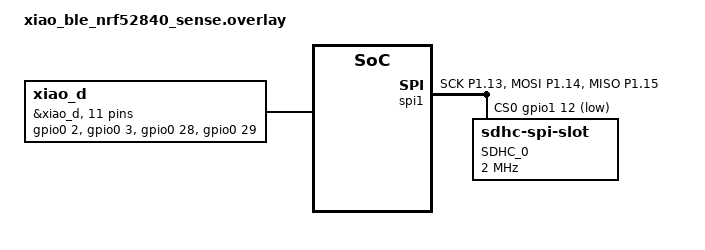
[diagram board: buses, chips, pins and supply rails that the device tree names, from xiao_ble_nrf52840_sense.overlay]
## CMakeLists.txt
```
#
# Copyright (c) 2018 Nordic Semiconductor
#
# SPDX-License-Identifier: LicenseRef-Nordic-5-Clause
#
cmake_minimum_required(VERSION 3.20.0)

find_package(Zephyr REQUIRED HINTS $ENV{ZEPHYR_BASE})
project(esb_ptxMy)

FILE(GLOB app_sources src/*.c)
# NORDIC SDK APP START
target_sources(app PRIVATE ${app_sources})
# NORDIC SDK APP END
```

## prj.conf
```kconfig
#
# Copyright (c) 2019 Nordic Semiconductor ASA
#
# SPDX-License-Identifier: LicenseRef-Nordic-5-Clause
#
CONFIG_NCS_SAMPLES_DEFAULTS=y
CONFIG_ESB=y
CONFIG_DK_LIBRARY=y
CONFIG_CLOCK_CONTROL=y

CONFIG_DISK_ACCESS=y
CONFIG_LOG=y

CONFIG_ASSERT=y

CONFIG_FILE_SYSTEM=y
CONFIG_FAT_FILESYSTEM_ELM=y
CONFIG_PRINTK=y
CONFIG_MAIN_STACK_SIZE=4096
CONFIG_SPI=y
CONFIG_ESB_MAX_PAYLOAD_LENGTH=193

CONFIG_ENTROPY_GENERATOR=y
```

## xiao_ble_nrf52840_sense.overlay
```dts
// To get started, press Ctrl+Space to bring up the completion menu and view the available nodes.

// You can also use the buttons in the sidebar to perform actions on nodes.
// Actions currently available include:

// * Enabling / disabling the node
// * Adding the bus to a bus
// * Removing the node
// * Connecting ADC channels

// For more help, browse the DeviceTree documentation at https://docs.zephyrproject.org/latest/guides/dts/index.html
// You can also visit the nRF DeviceTree extension documentation at https://docs.nordicsemi.com/bundle/nrf-connect-vscode/page/guides/ncs_configure_app.html#devicetree-support-in-the-extension
&pinctrl {
    custom_spi: custom_spi {
            group1 {
                    psels = <NRF_PSEL(SPIM_SCK, 1, 13)>,
                            <NRF_PSEL(SPIM_MOSI, 1, 14)>,
                            <NRF_PSEL(SPIM_MISO, 1, 15)>;
            };
    };
};

&spi1 {
    status = "okay";
    pinctrl-0 = <&custom_spi>;
    pinctrl-1 = <&custom_spi>;
    pinctrl-names = "default", "sleep";
    cs-gpios = <&gpio1 12 GPIO_ACTIVE_LOW>;

    sdhc0: sdhc@0 {
        compatible = "zephyr,sdhc-spi-slot";
        reg = <0>;
        status = "okay";
        label = "SDHC_0";
        mmc {
                compatible = "zephyr,sdmmc-disk";
                status = "okay";
                disk-name = "SD";  // ← sem přidej tento řádek
        };
        spi-max-frequency = <2000000>;
        //spi-max-frequency = <24000000>; //was working changing to 12 Mhz to be more stable
    };
};

&uart0_sleep {
    group1 {
        psels = <NRF_PSEL(UART_TX, 1, 11)>;
    };
};

&spi2_default {
    group1 {
        psels = <NRF_PSEL(SPIM_SCK, 1, 13)>,
                <NRF_PSEL(SPIM_MOSI, 1, 14)>,
                <NRF_PSEL(SPIM_MISO, 1, 15)>;
    };
};

&spi2_sleep {
    group1 {
        psels = <NRF_PSEL(SPIM_SCK, 1, 13)>,
                <NRF_PSEL(SPIM_MOSI, 1, 14)>,
                <NRF_PSEL(SPIM_MISO, 1, 15)>;
        /delete-property/ low-power-enable;
    };
};

&xiao_d {
    gpio-map = <0 0 &gpio0 2 0>,
               <1 0 &gpio0 3 0>,
               <2 0 &gpio0 28 0>,
               <3 0 &gpio0 29 0>,
               <4 0 &gpio0 4 0>,
               <5 0 &gpio0 5 0>,
               <6 0 &gpio1 11 0>,
               <7 0 &gpio1 12 0>,
               <8 0 &gpio1 13 0>,
               <9 0 &gpio1 14 0>,
               <10 0 &gpio1 15 0>;
};
```

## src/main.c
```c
/*
 * Copyright (c) 2018 Nordic Semiconductor ASA
 *
 * SPDX-License-Identifier: LicenseRef-Nordic-5-Clause
 */
#include <zephyr/drivers/clock_control.h>
#include <zephyr/drivers/clock_control/nrf_clock_control.h>
#include <zephyr/drivers/gpio.h>
#include <zephyr/irq.h>
#include <zephyr/logging/log.h>
#include <nrf.h>
#include <esb.h>
#include <zephyr/device.h>
#include <zephyr/devicetree.h>
#include <zephyr/kernel.h>
#include <zephyr/types.h>
#include <dk_buttons_and_leds.h>
#include <zephyr/random/random.h>
#if defined(CONFIG_CLOCK_CONTROL_NRF2)
#include <hal/nrf_lrcconf.h>
#endif
/*modules for the FEM*/
#include <mpsl_fem_protocol_api.h>
/*moduls for SD card support*/
#include <zephyr/storage/disk_access.h>
#include <zephyr/fs/fs.h>
#include <ff.h>
/*end of moduls for SD card support*/

/*Packet ID */
#define PKT_GEST 0xB1
#define PKT_PING 0xB2
#define PKT_STAUDIO 0xAB
#define PKT_AUDIO 0xAD
#define PKT_ENDAUDIO 0xAE

const char *audio_lib[] = {
    "SD:/Msheep.wav",
    "SD:/Dog.wav",
	"SD:/Cat.wav",
	"SD:/Horse.wav",
    "SD:/Elephant.wav",
	"SD:/Monkey.wav",
	"SD:/Owl.wav"
};

enum GestureID {
	G_IDLE = 0,
    G_CIRCLE1 = 1,
    G_DROP = 2,
    G_NOISE = 3,
    G_SQUARE = 4,
    G_STRAIGHT = 5,
};

#define MSGQ_LENGTH 64

struct gest_msg {
	uint8_t cmd;
	uint8_t gesture_id;
	uint8_t pipeprefix;
    uint8_t rsv;
};

static volatile bool esb_tx_done = true;   // bool used for controling TX logic of gest

uint8_t addr_prefix[2] = {0xA1, 0xA2};

K_MSGQ_DEFINE(msg_queue, sizeof(struct gest_msg), MSGQ_LENGTH, 4);

#define SEND_AUDIO_PRIORITY 1
#define SEND_AUDIO_THREAD_STACK_SIZE 4096

K_THREAD_STACK_DEFINE(sendaudio_stack_area, SEND_AUDIO_THREAD_STACK_SIZE);
static struct k_thread sendaudio_thread_data;

/**/
LOG_MODULE_REGISTER(esb_ptx, CONFIG_ESB_PTX_APP_LOG_LEVEL);

/*Comands for gests taht can be recieved*/
#define _RADIO_SHORTS_COMMON                                                   \
	(RADIO_SHORTS_READY_START_Msk | RADIO_SHORTS_END_DISABLE_Msk |         \
	 RADIO_SHORTS_ADDRESS_RSSISTART_Msk |                                  \
	 RADIO_SHORTS_DISABLED_RSSISTOP_Msk)
	 
struct esb_payload rx;

void event_handler(struct esb_evt const *event) {

	switch (event->evt_id) {
	case ESB_EVENT_TX_SUCCESS:
		LOG_DBG("TX SUCCESS EVENT");
		esb_tx_done = true;
		break;

	case ESB_EVENT_TX_FAILED:
		LOG_DBG("TX FAILED EVENT");
		esb_tx_done = true;
		break;

	case ESB_EVENT_RX_RECEIVED:
		LOG_DBG("RX RECIEVED EVENT");
		if (esb_read_rx_payload(&rx) == 0) {

			uint8_t PC_ID = rx.data[0];
			switch (PC_ID) {
				case PKT_PING:
					LOG_INF("PING PACKET RECIEVED");
					break;

				case PKT_GEST:
						struct gest_msg g = {
								.cmd  = rx.data[0],
								.gesture_id = rx.data[1],
								.pipeprefix = rx.data[2],
								.rsv  = rx.data[3],
							};

						if (k_msgq_put(&msg_queue, &g, K_NO_WAIT) != 0) {
							LOG_ERR("MSG queue full! Dropping packet!");
						}else {
							LOG_INF("Recieved gesture comand 0x%02X with value %d pipefromprefix %02X", g.cmd , g.gesture_id, g.pipeprefix);
						}
					break;
				default:
					break;
			}
		}
		break;
	}
}

#if defined(CONFIG_CLOCK_CONTROL_NRF)

int clocks_start(void)
{
	int err;
	int res;
	struct onoff_manager *clk_mgr;
	struct onoff_client clk_cli;

	clk_mgr = z_nrf_clock_control_get_onoff(CLOCK_CONTROL_NRF_SUBSYS_HF);
	if (!clk_mgr) {
		LOG_ERR("Unable to get the Clock manager");
		return -ENXIO;
	}

	sys_notify_init_spinwait(&clk_cli.notify);

	err = onoff_request(clk_mgr, &clk_cli);
	if (err < 0) {
		LOG_ERR("Clock request failed: %d", err);
		return err;
	}

	do {
		err = sys_notify_fetch_result(&clk_cli.notify, &res);
		if (!err && res) {
			LOG_ERR("Clock could not be started: %d", res);
			return res;
		}
	} while (err);

#if defined(NRF54L15_XXAA)
	/* MLTPAN-20 */
	nrf_clock_task_trigger(NRF_CLOCK, NRF_CLOCK_TASK_PLLSTART);
#endif /* defined(NRF54L15_XXAA) */

	LOG_DBG("HF clock started");
	return 0;
}
#else
BUILD_ASSERT(false, "No Clock Control driver");
#endif /* defined(CONFIG_CLOCK_CONTROL_NRF2) */


/*Start of moduls used for sandig audio data*/
#define AUDIO_CHUNK_SIZE (CONFIG_ESB_MAX_PAYLOAD_LENGTH-1) //working fine 192
#define AUDIO_SD_CHUNK AUDIO_CHUNK_SIZE*16 //working fine 3072
uint8_t audio_buffer[AUDIO_SD_CHUNK];

#define PING_INTERVAL_MS  1000
#define PING_PAUSE_MS     20
#define PING_PKT_LEN      1

/*Ends of moduls used for sandig audio data*/

/*
 *  Note the fatfs library is able to mount only strings inside _VOLUME_STRS
 *  in ffconf.h
 */

/*Start of moduls for SD card initialization*/
#define DISK_DRIVE_NAME "SD"
#define DISK_MOUNT_PT "/"DISK_DRIVE_NAME":"
#define MAX_PATH 128

static const char *disk_mount_pt = DISK_MOUNT_PT;

static FATFS fat_fs;

/* mounting info */
static struct fs_mount_t mp = {
	.type = FS_FATFS,
	.fs_data = &fat_fs,
};

static int lsdir(const char *path);

static int send_audio(const char *path);

/*End of moduls for SD card initialization*/

int esb_initialize(void);

int mpsl_initialization(void);

int SD_initialize(void);

void print_audio_data(uint8_t *data, size_t size);

void send_audio_thread(void *arg1, void *arg2, void *arg3);

int main(void)
{
	printk("This are the walues of main focus AUDIO_CHUNK_SIZE:%d and AUDIO_SD_CHUNK:%d\n",AUDIO_CHUNK_SIZE, AUDIO_SD_CHUNK);
	int err;

	k_sleep(K_MSEC(1000));

	err = SD_initialize();
	if (err){
		LOG_ERR("SD initialization failed, err %d", err);
		return 0;
	}
	
	LOG_INF("Enhanced ShockBurst ptx START");

	err = clocks_start();
	if (err) {
		return 0;
	}

	err = dk_leds_init();
	if (err) {
		LOG_ERR("LEDs initialization failed, err %d", err);
		return 0;
	}

	err = esb_initialize();
	if (err) {
		LOG_ERR("ESB initialization failed, err %d", err);
		return 0;
	}

	k_thread_create(&sendaudio_thread_data, sendaudio_stack_area,
		K_THREAD_STACK_SIZEOF(sendaudio_stack_area),
		send_audio_thread,
		NULL, NULL, NULL,
		SEND_AUDIO_PRIORITY, 0, K_NO_WAIT);

	LOG_INF("Initialization complete");

	mpsl_initialization();
}

/* List dir entry by path
 *
 * @param path Absolute path to list
 *
 * @return Negative errno code on error, number of listed entries on
 *         success.
 */
static int lsdir(const char *path)
{
	int res;
	struct fs_dir_t dirp;
	static struct fs_dirent entry;
	int count = 0;

	fs_dir_t_init(&dirp);

	/* Verify fs_opendir() */
	res = fs_opendir(&dirp, path);
	if (res) {
		LOG_ERR("Error opening dir %s [%d]\n", path, res);
		return res;
	}

	LOG_INF("\nListing dir %s ...\n", path);
	for (;;) {
		/* Verify fs_readdir() */
		res = fs_readdir(&dirp, &entry);

		/* entry.name[0] == 0 means end-of-dir */
		if (res || entry.name[0] == 0) {
			break;
		}
		if (entry.type == FS_DIR_ENTRY_DIR) {
			LOG_INF("[DIR ] %s\n", entry.name);
		} else {
			LOG_INF("[FILE] %s (size = %zu)\n",
				entry.name, entry.size);
		}
		count++;
	}

	/* Verify fs_closedir() */
	fs_closedir(&dirp);
	if (res == 0) {
		res = count;
	}
	
	return res;
}

int esb_initialize(void)
{
	int err;
	/* These aren't arbitrary default addresses any more. (In end user products
	 * different addresses should be used for each set of devices.)
	 */
	uint8_t base_addr_0[4] = {0xF1, 0xF1, 0xF1, 0xF1};
	struct esb_config config = ESB_DEFAULT_CONFIG;
	
	config.protocol = ESB_PROTOCOL_ESB_DPL;
	config.tx_output_power = 8;
	config.bitrate = ESB_BITRATE_1MBPS;
	config.event_handler = event_handler;
	config.mode = ESB_MODE_PTX;
	config.selective_auto_ack = true;

	if (IS_ENABLED(CONFIG_ESB_FAST_SWITCHING)) {
		config.use_fast_ramp_up = true;
	}

	err = esb_init(&config);
	if (err) {
		LOG_ERR("esb_init failed: %d", err);
		return err;
	}

	// Set channel to 80 ( that means 2480 MHz)
	err = esb_set_rf_channel(79);
	if (err) {
		LOG_ERR("Set RF channel failed");
		return err;
	}

	err = esb_set_base_address_0(base_addr_0);
	if (err) {
		return err;
	}

	err = esb_set_prefixes(addr_prefix, ARRAY_SIZE(addr_prefix));
	if (err) {
		return err;
	}

	//err = esb_set_tx_power(27);
	
	if (err) {
		LOG_ERR("Set TX Power failed");
		return err;
	}
	return 0;
}

void print_audio_data(uint8_t *data, size_t size) {
    LOG_DBG("Audio data (in hex):\n");
    for (size_t i = 0; i < size; i++) {
        printk("%02X ", data[i]);
        if ((i + 1) % 16 == 0) {
            printk("\n");  // Vytvoří nový řádek každých 16 bajtů
        }
    }
    printk("\n");
}

static int send_audio(const char *path) {

	LOG_INF("ENTERED send audio, will be sending %s", path);

    static uint8_t audio_buf[AUDIO_SD_CHUNK];

    struct esb_payload tx = { .length = 1, .noack = true, .pipe = 0};
    UINT bytes_read;
    FRESULT fr;
    int err, total = 0;
	esb_tx_done = false;

    FIL wav;
    fr = f_open(&wav, path, FA_READ);
    if (fr) {
        LOG_ERR("open %s failed (%d)", path, fr);
        return -EIO;
    } else {
        LOG_INF("Opened file and skiping header");
    	f_lseek(&wav, 44); // skip WAV header
	}

	for (int i = 0; i < 3; i++) {
		tx.data[0] = PKT_STAUDIO;
		esb_write_payload(&tx);
		k_sleep(K_MSEC(10));
	}

	tx.data[0] = PKT_AUDIO;

	while ((fr = f_read(&wav, audio_buf, AUDIO_SD_CHUNK, &bytes_read)) == FR_OK && bytes_read > 0) {
		
        for (size_t o = 0; o < bytes_read; o += AUDIO_CHUNK_SIZE) {
            size_t len = MIN(AUDIO_CHUNK_SIZE, bytes_read - o);
			memcpy(&tx.data[1], &audio_buf[o], len);
            tx.length = len+1;

            err = esb_write_payload(&tx);
            if (err) {
                LOG_ERR("ESB TX(send) err %d", err);
                //goto out_close;
            }
            k_sleep(K_USEC(2000));   //1500alse good was 1540 Dealay taht adjust the bitrate for correct audio sound working walue is 1590us
        }

        total += bytes_read;

	}

	fr = f_close(&wav);
	if (fr != FR_OK) {
		LOG_ERR("f_close failed: %d", fr);
		return -EIO;
	}

	tx.length  = 1;
	tx.data[0] = PKT_ENDAUDIO;

	for (int i = 0; i < 3; i++) {
		tx.data[0] = PKT_ENDAUDIO;
		esb_write_payload(&tx);
		k_sleep(K_MSEC(10));
	}

    LOG_INF("Audio done, %d B sent", total);

    return 0;
}

int SD_initialize(void) {
    /*
     * Init of SD card open and list
     * raw disk i/o
     */
    static const char *disk_pdrv = DISK_DRIVE_NAME;
    int ret = 0;

    uint32_t block_count = 0;
    uint32_t block_size = 0;

    // Inicializace disku
    ret = disk_access_ioctl(disk_pdrv, DISK_IOCTL_CTRL_INIT, NULL);
    if (ret != 0) {
        LOG_ERR("Storage init ERROR!");
        return ret;  // návrat při chybě
    }

    // Získání počtu sektorů
    ret = disk_access_ioctl(disk_pdrv, DISK_IOCTL_GET_SECTOR_COUNT, &block_count);
    if (ret != 0) {
        LOG_ERR("Unable to get sector count");
        return ret;
    }
    LOG_INF("Block count %u", block_count);

    // Získání velikosti sektoru
    ret = disk_access_ioctl(disk_pdrv, DISK_IOCTL_GET_SECTOR_SIZE, &block_size);
    if (ret != 0) {
        LOG_ERR("Unable to get sector size");
        return ret;
    }
    LOG_INF("Sector size %u", block_size);

    uint64_t memory_size_mb = (uint64_t)block_count * block_size;
    LOG_INF("Memory Size(MB) %u", (uint32_t)(memory_size_mb >> 20));

    // Mount filesystem
    mp.mnt_point = disk_mount_pt;

    ret = fs_mount(&mp);
    if (ret != FR_OK) {
        LOG_INF("Error mounting disk.");
        return ret;
    }

    LOG_INF("Disk mounted.");

    // Projít obsah adresáře
    if (lsdir(disk_mount_pt) == 0) {
        LOG_INF("SD is empty.");
    } else {
        LOG_INF("SD and file configuration was successful.");
    }

    /*End of init of SD card*/
    return 0;
}

void send_audio_thread(void *arg1, void *arg2, void *arg3) {

	int ret;

	LOG_INF("Send audio thread init");
	
	struct esb_payload ping = {
		.pipe = 0,
		.noack = false,
		.length = PING_PKT_LEN,
		.data   = {PKT_PING}
	};

	struct gest_msg g;

	while (1) {

		bool gesture_received = false;	//ping until gesture is detected

		while (!gesture_received) {
			esb_flush_tx(); // maby not necceserry (more like veary necceserry!!!!!)

			for (uint8_t i = 0; i < ARRAY_SIZE(addr_prefix); i++) {
				LOG_INF("pinging addr with prefix %02X and current prefix index i is: %d", addr_prefix[i], i);
                esb_update_prefix(0,addr_prefix[i]);
                ret = esb_write_payload(&ping);
                k_sleep(K_MSEC(20));// wait for ack which should contain gesture
			}
			LOG_INF("");
			k_sleep(K_MSEC(PING_INTERVAL_MS));

			// check if msg queue contains gesture
			if (k_msgq_get(&msg_queue, &g, K_NO_WAIT) == 0) {
				gesture_received = true;
				while (k_msgq_get(&msg_queue, &g, K_NO_WAIT) == 0) {}
			}
		}

		/* === Gesture recievd send audio === */
		if (g.gesture_id < ARRAY_SIZE(audio_lib)) {
			if (g.gesture_id == G_IDLE) {
				g.gesture_id = sys_rand8_get() % ARRAY_SIZE(audio_lib);
				LOG_INF("random gesture %d Device prefix 0x%02X", g.gesture_id, g.pipeprefix);
			}
			LOG_INF("Recieved gesture stariting to send audio");
			esb_flush_tx(); // maby not necceserry
			esb_update_prefix(0,g.pipeprefix);
			ret = send_audio(audio_lib[g.gesture_id]);
			if(ret) {
				LOG_ERR("There was an issue while sending audio: %d", ret);
			} else {
				LOG_INF("Audio was sent correctly");
			}
		} else {
			LOG_ERR("Unknown gesture ID: %d", g.gesture_id);
		}
		k_sleep(K_MSEC(100)); //wait utnill all packets that might be neccessery to arrive
	}
}

int mpsl_initialization(void){
	int8_t const p_gain;
	mpsl_fem_lna_is_configured(&p_gain);
	printk("This is check if the LNA of FEM is configured outup value is: %d\n", p_gain);
	return 0;
}
```
